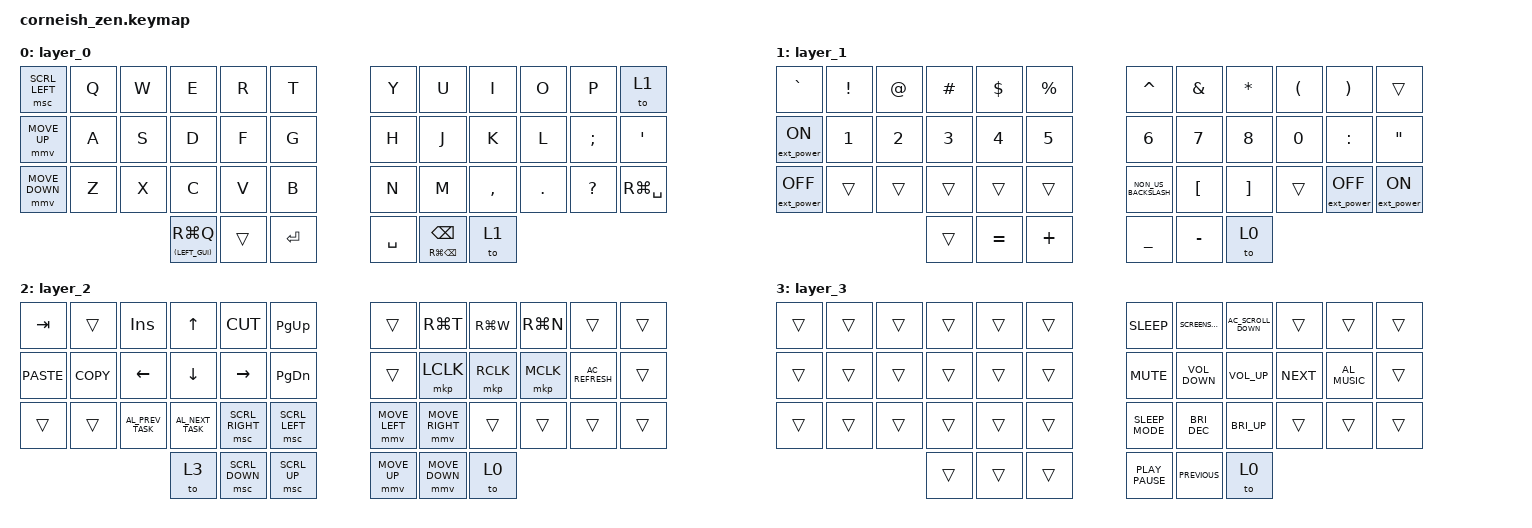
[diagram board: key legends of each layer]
/*
 * Copyright (c) 2020 The ZMK Contributors
 *
 * SPDX-License-Identifier: MIT
 */

#include <behaviors.dtsi>
#include <dt-bindings/zmk/ext_power.h>
#include <dt-bindings/zmk/keys.h>
#include <dt-bindings/zmk/pointing.h>
#include "../knucklehead/base.dtsi"

&mmv {
};

&msc {
};

/ {
    chosen { zmk,matrix_transform = &default_transform; };

    behaviors {
        new_behavior: new_behavior {
            compatible = "zmk,behavior-mouse-key-press";
            label = "NEW_BEHAVIOR";
            #binding-cells = <1>;
        };
    };

    keymap {
        compatible = "zmk,keymap";

        layer_0 {
            bindings = <
&msc SCRL_LEFT  &kp Q  &kp W  &kp E                 &kp R   &kp T        &kp Y      &kp U                   &kp I      &kp O    &kp P         &to 1
&mmv MOVE_UP    &kp A  &kp S  &kp D                 &kp F   &kp G        &kp H      &kp J                   &kp K      &kp L    &kp SEMI      &kp APOS
&mmv MOVE_DOWN  &kp Z  &kp X  &kp C                 &kp V   &kp B        &kp N      &kp M                   &kp COMMA  &kp DOT  &kp QUESTION  &kp RG(SPACE)
                              &mt (LEFT_GUI) RG(Q)  &trans  &kp ENTER    &kp SPACE  &mt RG(BSPC) BACKSPACE  &to 1
            >;
        };

        layer_1 {
            bindings = <
&kp GRAVE          &kp EXCLAMATION  &kp AT_SIGN  &kp HASH  &kp DOLLAR  &kp PERCENT    &kp CARET             &kp AMPERSAND     &kp ASTERISK       &kp LEFT_PARENTHESIS  &kp RIGHT_PARENTHESIS  &trans
&ext_power EP_ON   &kp N1           &kp N2       &kp N3    &kp N4      &kp N5         &kp N6                &kp N7            &kp N8             &kp N0                &kp COLON              &kp DOUBLE_QUOTES
&ext_power EP_OFF  &trans           &trans       &trans    &trans      &trans         &kp NON_US_BACKSLASH  &kp LEFT_BRACKET  &kp RIGHT_BRACKET  &trans                &ext_power EP_OFF      &ext_power EP_ON
                                                 &trans    &kp EQUAL   &kp PLUS       &kp UNDER             &kp MINUS         &to 0
            >;
        };

        layer_2 {
            bindings = <
&kp TAB      &trans      &kp INSERT          &kp UP_ARROW        &kp K_CUT        &kp PG_UP         &trans          &kp RG(T)        &kp RG(W)  &kp RG(N)  &trans            &trans
&kp K_PASTE  &kp K_COPY  &kp LEFT            &kp DOWN            &kp RIGHT_ARROW  &kp PAGE_DOWN     &trans          &mkp LCLK        &mkp RCLK  &mkp MCLK  &kp C_AC_REFRESH  &trans
&trans       &trans      &kp C_AL_PREV_TASK  &kp C_AL_NEXT_TASK  &msc SCRL_RIGHT  &msc SCRL_LEFT    &mmv MOVE_LEFT  &mmv MOVE_RIGHT  &trans     &trans     &trans            &trans
                                             &to 3               &msc SCRL_DOWN   &msc SCRL_UP      &mmv MOVE_UP    &mmv MOVE_DOWN   &to 0
            >;
        };

        layer_3 {
            bindings = <
&trans  &trans  &trans  &trans  &trans  &trans    &kp K_SLEEP       &kp K_SCREENSAVER     &kp C_AC_SCROLL_DOWN  &trans      &trans          &trans
&trans  &trans  &trans  &trans  &trans  &trans    &kp K_MUTE        &kp C_VOLUME_DOWN     &kp C_VOLUME_UP       &kp K_NEXT  &kp C_AL_MUSIC  &trans
&trans  &trans  &trans  &trans  &trans  &trans    &kp C_SLEEP_MODE  &kp C_BRIGHTNESS_DEC  &kp C_BRI_UP          &trans      &trans          &trans
                        &trans  &trans  &trans    &kp K_PLAY_PAUSE  &kp K_PREVIOUS        &to 0
            >;
        };
    };
};
